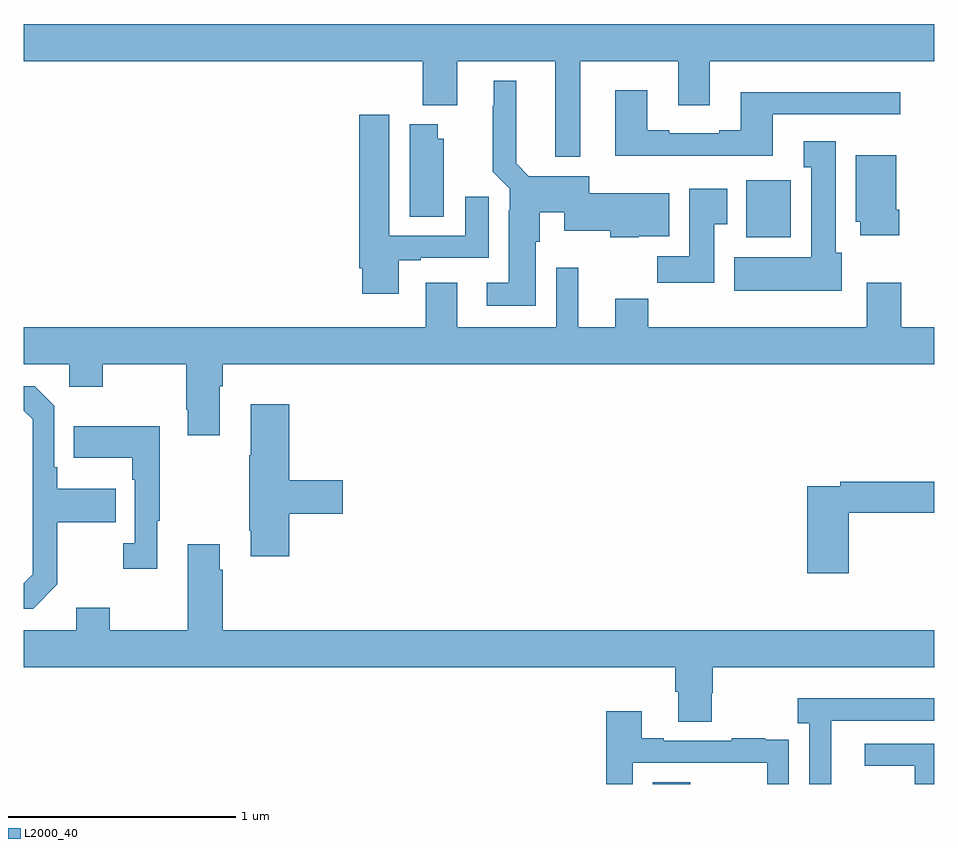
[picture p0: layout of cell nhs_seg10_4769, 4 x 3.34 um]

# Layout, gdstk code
import gdstk
lib = gdstk.Library(unit=1e-6, precision=1e-09)
def R(c, l, rs):  # rectangles x0, y0, x1, y1
    for r in rs: c.add(gdstk.rectangle(r[:2], r[2:], *l))
def P(c, l, *ps):  # polygons
    for p in ps: c.add(gdstk.Polygon(p, *l))
L2000_40 = (2000, 40)

nhs_seg10_4769 = lib.new_cell('nhs_seg10_4769')
R(nhs_seg10_4769, L2000_40, [(387.764,1270.5,387.928,1270.508), (388.175,1272.902,388.371,1273.153)])
P(nhs_seg10_4769, L2000_40, [(387.445,1273.676),(387.875,1273.676),(387.875,1273.482),(388.015,1273.482),(388.015,1273.676),(389,1273.676),(389,1273.84),(385,1273.84),(385,1273.676),(386.753,1273.676),(386.753,1273.484),(386.905,1273.484),(386.905,1273.676),(387.335,1273.676),(387.335,1273.256),(387.445,1273.256)],
  [(387.25,1272.882),(387.268,1272.882),(387.268,1273.013),(387.374,1273.013),(387.374,1272.932),(387.577,1272.932),(387.577,1272.902),(387.702,1272.902),(387.702,1272.908),(387.835,1272.908),(387.835,1273.096),(387.484,1273.096),(387.484,1273.171),(387.219,1273.171),(387.163,1273.228),(387.163,1273.591),(387.065,1273.591),(387.065,1273.481),(387.061,1273.481),(387.061,1273.19),(387.135,1273.116),(387.135,1273.022),(387.131,1273.022),(387.131,1272.703),(387.033,1272.703),(387.033,1272.602),(387.25,1272.602)],
  [(388.291,1273.443),(388.852,1273.443),(388.852,1273.54),(388.151,1273.54),(388.151,1273.372),(388.055,1273.372),(388.055,1273.359),(387.835,1273.359),(387.835,1273.372),(387.739,1273.372),(387.739,1273.549),(387.599,1273.549),(387.599,1273.262),(388.291,1273.262)],
  [(386.647,1272.801),(386.743,1272.801),(386.743,1272.813),(387.043,1272.813),(387.043,1273.081),(386.939,1273.081),(386.939,1272.909),(386.605,1272.909),(386.605,1273.441),(386.474,1273.441),(386.474,1272.766),(386.486,1272.766),(386.486,1272.654),(386.647,1272.654)],
  [(386.845,1273.335),(386.818,1273.335),(386.818,1273.399),(386.696,1273.399),(386.696,1272.994),(386.845,1272.994)],
  [(388.594,1272.834),(388.567,1272.834),(388.567,1273.324),(388.427,1273.324),(388.427,1273.211),(388.46,1273.211),(388.46,1272.814),(388.121,1272.814),(388.121,1272.668),(388.594,1272.668)],
  [(388.847,1273.024),(388.834,1273.024),(388.834,1273.264),(388.655,1273.264),(388.655,1272.972),(388.676,1272.972),(388.676,1272.912),(388.847,1272.912)],
  [(388.033,1272.961),(388.09,1272.961),(388.09,1273.117),(387.923,1273.117),(387.923,1272.82),(387.784,1272.82),(387.784,1272.702),(388.033,1272.702)],
  [(385.861,1272.248),(385.874,1272.248),(385.874,1272.344),(389,1272.344),(389,1272.508),(388.856,1272.508),(388.856,1272.703),(388.703,1272.703),(388.703,1272.508),(387.743,1272.508),(387.743,1272.632),(387.599,1272.632),(387.599,1272.508),(387.436,1272.508),(387.436,1272.769),(387.339,1272.769),(387.339,1272.508),(386.905,1272.508),(386.905,1272.703),(386.765,1272.703),(386.765,1272.508),(385,1272.508),(385,1272.344),(385.2,1272.344),(385.2,1272.245),(385.347,1272.245),(385.347,1272.344),(385.714,1272.344),(385.714,1272.145),(385.721,1272.145),(385.721,1272.033),(385.861,1272.033)],
  [(385.147,1271.377),(385.147,1271.65),(385.403,1271.65),(385.403,1271.797),(385.147,1271.797),(385.147,1271.893),(385.134,1271.893),(385.134,1272.162),(385.047,1272.249),(385,1272.249),(385,1272.14),(385.038,1272.102),(385.038,1271.421),(385,1271.383),(385,1271.271),(385.041,1271.271)],
  [(386.165,1271.687),(386.401,1271.687),(386.401,1271.834),(386.165,1271.834),(386.165,1272.169),(385.997,1272.169),(385.997,1271.945),(385.99,1271.945),(385.99,1271.614),(385.997,1271.614),(385.997,1271.502),(386.165,1271.502)],
  [(385.585,1271.657),(385.597,1271.657),(385.597,1272.073),(385.219,1272.073),(385.219,1271.933),(385.476,1271.933),(385.476,1271.837),(385.488,1271.837),(385.488,1271.558),(385.437,1271.558),(385.437,1271.445),(385.585,1271.445)],
  [(388.625,1271.692),(389,1271.692),(389,1271.828),(388.588,1271.828),(388.588,1271.808),(388.442,1271.808),(388.442,1271.427),(388.625,1271.427)],
  [(388.023,1270.899),(388.028,1270.899),(388.028,1271.012),(389,1271.012),(389,1271.176),(385.874,1271.176),(385.874,1271.441),(385.861,1271.441),(385.861,1271.554),(385.721,1271.554),(385.721,1271.176),(385.377,1271.176),(385.377,1271.275),(385.229,1271.275),(385.229,1271.176),(385,1271.176),(385,1271.012),(387.863,1271.012),(387.863,1270.906),(387.875,1270.906),(387.875,1270.774),(388.023,1270.774)],
  [(388.548,1270.579),(388.549,1270.579),(388.549,1270.779),(389,1270.779),(389,1270.876),(388.401,1270.876),(388.401,1270.766),(388.452,1270.766),(388.452,1270.5),(388.548,1270.5)],
  [(387.675,1270.593),(388.266,1270.593),(388.266,1270.5),(388.362,1270.5),(388.362,1270.586),(388.361,1270.586),(388.361,1270.695),(388.259,1270.695),(388.259,1270.702),(388.111,1270.702),(388.111,1270.689),(387.811,1270.689),(387.811,1270.702),(387.715,1270.702),(387.715,1270.819),(387.559,1270.819),(387.559,1270.5),(387.675,1270.5)],
  [(389,1270.677),(388.695,1270.677),(388.695,1270.581),(388.914,1270.581),(388.914,1270.5),(389,1270.5)])

lib.write_gds('nhs_seg10_4769.gds')
